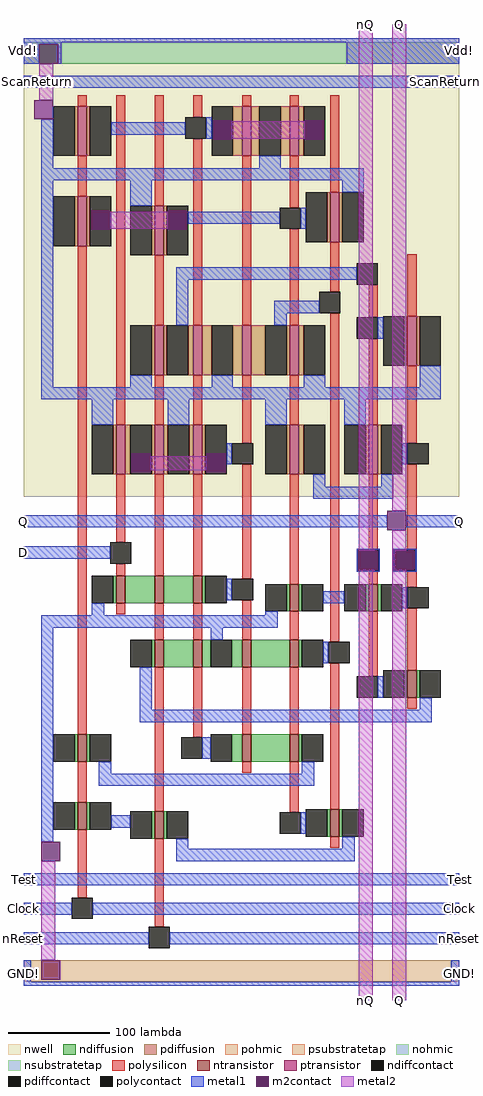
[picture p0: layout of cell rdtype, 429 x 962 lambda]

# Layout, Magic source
magic
tech tsmc180
<< nwell >>
rect 0 496 429 948
<< polysilicon >>
rect 53 881 62 892
rect 53 792 62 832
rect 53 262 62 743
rect 91 567 100 892
rect 129 783 138 892
rect 167 870 176 892
rect 215 881 224 892
rect 262 881 271 892
rect 129 665 138 734
rect 167 665 176 849
rect 215 665 224 832
rect 262 781 271 832
rect 302 796 311 892
rect 262 665 271 760
rect 302 698 311 747
rect 129 567 138 616
rect 167 567 176 616
rect 215 549 224 616
rect 262 567 271 616
rect 91 451 100 518
rect 91 418 100 430
rect 129 418 138 518
rect 167 418 176 518
rect 215 415 224 528
rect 262 410 271 518
rect 91 380 100 391
rect 129 355 138 391
rect 167 355 176 391
rect 215 355 224 394
rect 262 355 271 383
rect 302 353 311 677
rect 340 673 349 705
rect 378 674 387 735
rect 340 567 349 652
rect 378 549 387 625
rect 340 444 349 518
rect 378 444 387 528
rect 386 423 387 444
rect 340 410 349 423
rect 378 407 387 423
rect 53 195 62 235
rect 129 186 138 328
rect 167 259 176 328
rect 215 262 224 328
rect 262 262 271 328
rect 215 224 224 235
rect 53 101 62 168
rect 262 185 271 235
rect 302 188 311 332
rect 340 319 349 383
rect 378 325 387 386
rect 378 287 387 298
rect 129 72 138 159
rect 302 150 311 161
<< ndiffusion >>
rect 88 391 91 418
rect 100 391 129 418
rect 138 391 167 418
rect 176 391 179 418
rect 259 383 262 410
rect 271 383 274 410
rect 126 328 129 355
rect 138 328 167 355
rect 176 328 184 355
rect 205 328 215 355
rect 224 328 262 355
rect 271 328 274 355
rect 337 383 340 410
rect 349 383 352 410
rect 50 235 53 262
rect 62 235 65 262
rect 50 168 53 195
rect 62 168 65 195
rect 205 235 215 262
rect 224 235 262 262
rect 271 235 274 262
rect 126 159 129 186
rect 138 159 141 186
rect 375 298 378 325
rect 387 298 390 325
rect 299 161 302 188
rect 311 161 314 188
<< pdiffusion >>
rect 50 832 53 881
rect 62 832 65 881
rect 50 743 53 792
rect 62 743 65 792
rect 126 734 129 783
rect 138 734 141 783
rect 206 832 215 881
rect 224 832 232 881
rect 253 832 262 881
rect 271 832 276 881
rect 299 747 302 796
rect 311 747 314 796
rect 126 616 129 665
rect 138 616 141 665
rect 162 616 167 665
rect 176 616 185 665
rect 206 616 215 665
rect 224 616 238 665
rect 259 616 262 665
rect 271 616 276 665
rect 88 518 91 567
rect 100 518 105 567
rect 126 518 129 567
rect 138 518 142 567
rect 163 518 167 567
rect 176 518 179 567
rect 259 518 262 567
rect 271 518 276 567
rect 375 625 378 674
rect 387 625 390 674
rect 337 518 340 567
rect 349 518 352 567
<< pohmic >>
rect 0 18 7 39
rect 421 18 429 39
<< nohmic >>
rect 0 923 37 944
rect 318 923 429 944
<< ntransistor >>
rect 91 391 100 418
rect 129 391 138 418
rect 167 391 176 418
rect 262 383 271 410
rect 129 328 138 355
rect 167 328 176 355
rect 215 328 224 355
rect 262 328 271 355
rect 340 383 349 410
rect 53 235 62 262
rect 53 168 62 195
rect 215 235 224 262
rect 262 235 271 262
rect 129 159 138 186
rect 378 298 387 325
rect 302 161 311 188
<< ptransistor >>
rect 53 832 62 881
rect 53 743 62 792
rect 129 734 138 783
rect 215 832 224 881
rect 262 832 271 881
rect 302 747 311 796
rect 129 616 138 665
rect 167 616 176 665
rect 215 616 224 665
rect 262 616 271 665
rect 91 518 100 567
rect 129 518 138 567
rect 167 518 176 567
rect 262 518 271 567
rect 378 625 387 674
rect 340 518 349 567
<< polycontact >>
rect 159 849 180 870
rect 252 760 273 781
rect 328 705 349 726
rect 291 677 312 698
rect 205 528 226 549
rect 85 430 106 451
rect 205 394 226 415
rect 328 652 349 673
rect 378 528 399 549
rect 329 423 350 444
rect 365 423 386 444
rect 378 386 399 407
rect 300 332 321 353
rect 155 238 176 259
rect 328 298 349 319
rect 252 164 273 185
rect 47 80 68 101
rect 123 51 144 72
<< ndiffcontact >>
rect 67 391 88 418
rect 179 391 200 418
rect 238 383 259 410
rect 274 383 295 410
rect 105 328 126 355
rect 184 328 205 355
rect 274 328 295 355
rect 316 383 337 410
rect 352 383 373 410
rect 29 235 50 262
rect 65 235 86 262
rect 29 168 50 195
rect 65 168 86 195
rect 184 235 205 262
rect 274 235 295 262
rect 105 159 126 186
rect 141 159 162 186
rect 354 298 375 325
rect 390 298 411 325
rect 278 161 299 188
rect 314 161 335 188
<< pdiffcontact >>
rect 29 832 50 881
rect 65 832 86 881
rect 29 743 50 792
rect 65 743 86 792
rect 105 734 126 783
rect 141 734 162 783
rect 185 832 206 881
rect 232 832 253 881
rect 276 832 297 881
rect 278 747 299 796
rect 314 747 335 796
rect 105 616 126 665
rect 141 616 162 665
rect 185 616 206 665
rect 238 616 259 665
rect 276 616 297 665
rect 67 518 88 567
rect 105 518 126 567
rect 142 518 163 567
rect 179 518 200 567
rect 238 518 259 567
rect 276 518 297 567
rect 354 625 375 674
rect 390 625 411 674
rect 316 518 337 567
rect 352 518 373 567
<< psubstratetap >>
rect 7 18 421 39
<< nsubstratetap >>
rect 37 923 318 944
<< metal1 >>
rect 0 944 429 948
rect 0 942 37 944
rect 0 923 15 942
rect 34 923 37 942
rect 318 923 429 944
rect 0 899 429 911
rect 17 820 29 868
rect 86 853 159 865
rect 180 849 185 870
rect 232 820 253 832
rect 17 808 335 820
rect 17 604 29 808
rect 105 783 126 808
rect 314 796 335 808
rect 162 765 252 777
rect 273 760 278 781
rect 150 710 328 722
rect 150 665 162 710
rect 247 677 291 689
rect 247 665 259 677
rect 349 652 354 673
rect 105 604 126 616
rect 185 604 206 616
rect 276 604 297 616
rect 390 604 411 625
rect 17 592 411 604
rect 67 567 88 592
rect 142 567 163 592
rect 238 567 259 592
rect 316 567 337 592
rect 200 528 205 549
rect 373 528 378 549
rect 285 506 297 518
rect 352 506 364 518
rect 285 494 364 506
rect 0 466 358 478
rect 377 466 429 478
rect 0 435 85 447
rect 328 444 351 445
rect 328 423 329 444
rect 350 423 351 444
rect 328 422 351 423
rect 364 444 387 445
rect 364 423 365 444
rect 386 423 387 444
rect 364 422 387 423
rect 200 394 205 415
rect 67 379 79 391
rect 295 391 316 403
rect 373 386 378 407
rect 238 379 250 383
rect 17 367 250 379
rect 17 156 29 367
rect 184 355 196 367
rect 295 332 300 353
rect 114 286 126 328
rect 349 298 354 319
rect 390 286 402 298
rect 114 274 402 286
rect 176 238 184 259
rect 74 223 86 235
rect 274 223 286 235
rect 74 211 286 223
rect 86 170 105 182
rect 273 164 278 185
rect 150 149 162 159
rect 314 149 326 161
rect 150 137 326 149
rect 0 113 429 125
rect 0 84 47 96
rect 68 84 429 96
rect 0 55 123 67
rect 144 55 429 67
rect 0 18 7 39
rect 421 18 429 39
rect 0 14 429 18
<< m2contact >>
rect 15 923 34 942
rect 10 868 29 887
rect 186 848 205 867
rect 277 848 296 867
rect 66 759 85 778
rect 142 759 161 778
rect 106 520 125 539
rect 180 520 199 539
rect 358 463 377 482
rect 330 424 349 443
rect 366 424 385 443
rect 17 137 36 156
rect 17 20 36 39
<< metal2 >>
rect 15 887 29 923
rect 205 849 277 866
rect 85 760 142 777
rect 125 522 180 536
rect 330 444 344 962
rect 363 482 377 962
rect 330 443 346 444
rect 363 443 377 463
rect 363 424 366 443
rect 330 423 346 424
rect 17 39 31 137
rect 330 0 344 423
rect 363 0 377 424
<< labels >>
rlabel metal2 330 962 344 962 5 nQ
rlabel metal2 363 962 377 962 5 Q
rlabel metal2 363 0 377 0 1 Q
rlabel metal2 330 0 344 0 1 nQ
rlabel metal1 429 113 429 125 7 Test
rlabel metal1 0 113 0 125 3 Test
rlabel metal1 0 435 0 447 3 D
rlabel metal1 0 466 0 478 3 Q
rlabel metal1 429 466 429 478 7 Q
rlabel metal1 429 14 429 39 7 GND!
rlabel metal1 0 14 0 39 3 GND!
rlabel metal1 0 55 0 67 3 nReset
rlabel metal1 0 84 0 96 3 Clock
rlabel metal1 429 84 429 96 7 Clock
rlabel metal1 429 55 429 67 7 nReset
rlabel metal1 0 923 0 948 3 Vdd!
rlabel metal1 429 923 429 948 7 Vdd!
rlabel metal1 429 899 429 911 7 ScanReturn
rlabel metal1 0 899 0 911 3 ScanReturn
<< end >>
